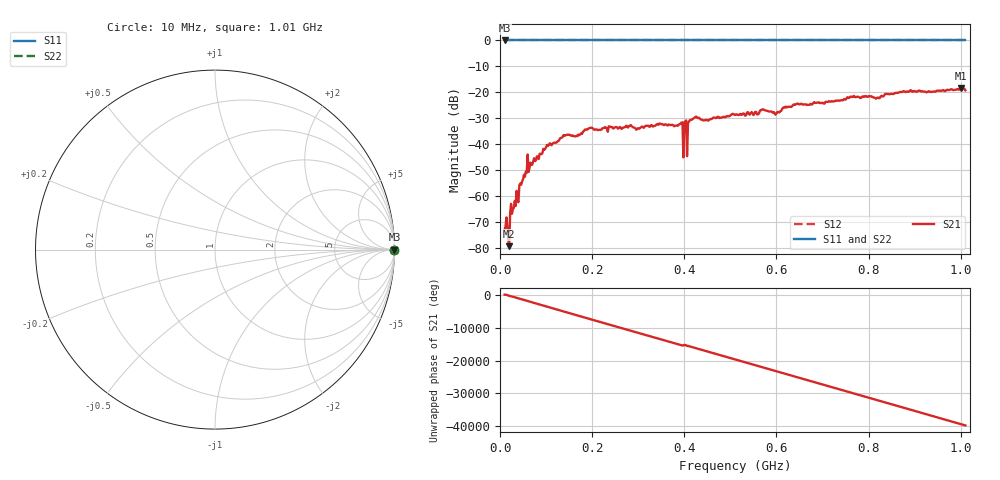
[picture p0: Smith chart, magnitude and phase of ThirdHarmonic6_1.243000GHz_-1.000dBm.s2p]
! 8/16/2025 1:13:43 PM
! C:\ANRITSUVNA\TEMP\TEMP.S2P
! CHANNEL.1
! TR.MEASUREMENT
! RAW.DATA
! RF.CORRECTION.OFF
! AVERAGING.OFF
! IF.BANDWIDTH: 5KHZ
! SWEEPTYPE:  FREQ.SWEEP(Linear)
! Reference Plane Port Info
! PORT:  PORT1  PORT2
! DISTANCE:  0  m  0  m
! TIME:  0  s  0  s
! PHASE.OFFSET:  0  deg.  0  deg.
! LOSS:  0  dB  0  dB
! REF.LOSS:  0  dB  0  dB
! REF.FREQ:  0  Hz  0  Hz
! Power Info
! POWER:  -20  dBm  -20  dBm
! EFF.POWER:  -20  dBm  -20  dBm
! SOURCE.ATTEN:  0  dB  0  dB
! TEST.ATTEN:  0  dB  0  dB
# GHZ S RI R 50.0
! FREQ.GHZ  S11RE  S11IM  S21RE  S21IM  S12RE  S12IM  S22RE  S22IM
!; PortSelection: Port_12
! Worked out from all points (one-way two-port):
!   501 points, 10 MHz to 1.01 GHz, reference 50 ohm
!   highest |S21| = -18.29 dB at 1 GHz (marker M1); lowest = -79.4 dB at 20 MHz (marker M2)
!   lowest |S11| = 0.0 dB at 10 MHz (marker M3)
!   |S11| at or under -10 dB: nowhere
!   |S22| runs from 0.0 to 0.0 dB; largest |S21 - S12| = 1.1
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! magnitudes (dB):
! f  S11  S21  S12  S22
! 10 MHz  0.0  -72.9  0.0  0.0
! 16 MHz  0.0  -72.2  0.0  0.0
! 20 MHz  0.0  -79.4  0.0  0.0
! 26 MHz  0.0  -66.9  0.0  0.0
! 64 MHz  0.0  -49.2  0.0  0.0
! 106 MHz  0.0  -40.3  0.0  0.0
! 178 MHz  0.0  -36.1  0.0  0.0
! 344 MHz  0.0  -32.5  0.0  0.0
! 392 MHz  0.0  -32.0  0.0  0.0
! 394 MHz  0.0  -31.7  0.0  0.0
! 400 MHz  0.0  -31.6  0.0  0.0
! 402 MHz  0.0  -31.3  0.0  0.0
! 404 MHz  0.0  -30.8  0.0  0.0
! 410 MHz  0.0  -31.4  0.0  0.0
! 412 MHz  0.0  -30.8  0.0  0.0
! 422 MHz  0.0  -29.9  0.0  0.0
! 510 MHz  0.0  -28.7  0.0  0.0
! 600 MHz  0.0  -28.1  0.0  0.0
! 678 MHz  0.0  -24.6  0.0  0.0
! 844 MHz  0.0  -20.7  0.0  0.0
! 1 GHz  0.0  -18.3  0.0  0.0
! 1.01 GHz  0.0  -19.2  0.0  0.0
